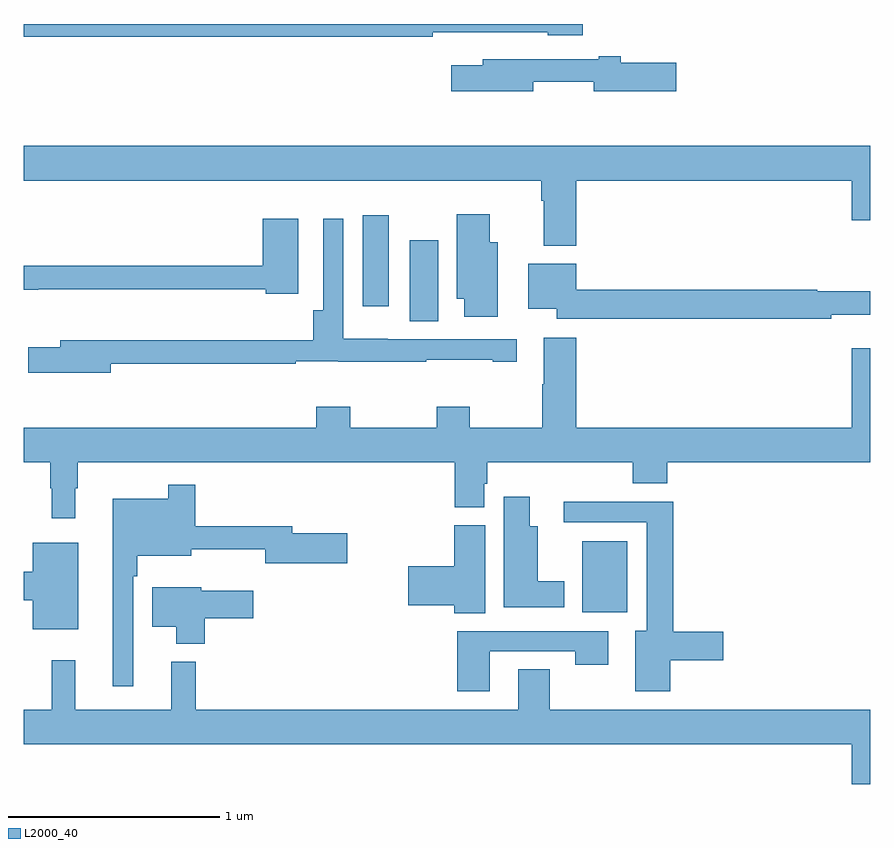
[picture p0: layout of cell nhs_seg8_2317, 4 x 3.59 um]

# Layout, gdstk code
import gdstk
lib = gdstk.Library(unit=1e-6, precision=1e-09)
def R(c, l, rs):  # rectangles x0, y0, x1, y1
    for r in rs: c.add(gdstk.rectangle(r[:2], r[2:], *l))
def P(c, l, *ps):  # polygons
    for p in ps: c.add(gdstk.Polygon(p, *l))
L2000_40 = (2000, 40)

nhs_seg8_2317 = lib.new_cell('nhs_seg8_2317')
R(nhs_seg8_2317, L2000_40, [(259.64,1121.12,259.852,1121.455), (258.824,1122.496,258.958,1122.877), (258.602,1122.567,258.724,1122.997)])
P(nhs_seg8_2317, L2000_40, [(258.932,1123.86),(259.476,1123.86),(259.476,1123.847),(259.642,1123.847),(259.642,1123.9),(257,1123.9),(257,1123.84),(258.932,1123.84)],
  [(259.408,1123.626),(259.694,1123.626),(259.694,1123.583),(260.083,1123.583),(260.083,1123.718),(259.822,1123.718),(259.822,1123.747),(259.718,1123.747),(259.718,1123.734),(259.169,1123.734),(259.169,1123.705),(259.02,1123.705),(259.02,1123.583),(259.408,1123.583)],
  [(259.61,1123.16),(260.912,1123.16),(260.912,1122.972),(261,1122.972),(261,1123.324),(257,1123.324),(257,1123.16),(259.445,1123.16),(259.445,1123.064),(259.457,1123.064),(259.457,1122.851),(259.61,1122.851)],
  [(259.24,1122.868),(259.201,1122.868),(259.201,1123),(259.046,1123),(259.046,1122.602),(259.082,1122.602),(259.082,1122.516),(259.24,1122.516)],
  [(257.41,1122.294),(258.284,1122.294),(258.284,1122.305),(258.486,1122.305),(258.486,1122.303),(258.902,1122.303),(258.902,1122.313),(259.217,1122.313),(259.217,1122.303),(259.33,1122.303),(259.33,1122.411),(258.72,1122.411),(258.72,1122.412),(258.51,1122.412),(258.51,1122.979),(258.414,1122.979),(258.414,1122.547),(258.368,1122.547),(258.368,1122.405),(257.171,1122.405),(257.171,1122.373),(257.022,1122.373),(257.022,1122.251),(257.41,1122.251)],
  [(258.298,1122.979),(258.128,1122.979),(258.128,1122.757),(257,1122.757),(257,1122.643),(257.067,1122.643),(257.067,1122.646),(258.144,1122.646),(258.144,1122.626),(258.298,1122.626)],
  [(260.816,1122.527),(261,1122.527),(261,1122.637),(260.75,1122.637),(260.75,1122.644),(259.612,1122.644),(259.612,1122.766),(259.385,1122.766),(259.385,1122.554),(259.518,1122.554),(259.518,1122.508),(260.816,1122.508)],
  [(259.107,1122.091),(258.952,1122.091),(258.952,1121.992),(258.543,1121.992),(258.543,1122.091),(258.383,1122.091),(258.383,1121.992),(257,1121.992),(257,1121.828),(257.125,1121.828),(257.125,1121.705),(257.133,1121.705),(257.133,1121.565),(257.242,1121.565),(257.242,1121.705),(257.254,1121.705),(257.254,1121.828),(259.037,1121.828),(259.037,1121.617),(259.177,1121.617),(259.177,1121.727),(259.19,1121.727),(259.19,1121.828),(259.877,1121.828),(259.877,1121.729),(260.041,1121.729),(260.041,1121.828),(261,1121.828),(261,1122.367),(260.912,1122.367),(260.912,1121.992),(259.61,1121.992),(259.61,1122.418),(259.457,1122.418),(259.457,1122.197),(259.45,1122.197),(259.45,1121.992),(259.107,1121.992)],
  [(257.517,1121.291),(257.537,1121.291),(257.537,1121.387),(257.791,1121.387),(257.791,1121.417),(258.14,1121.417),(258.14,1121.351),(258.529,1121.351),(258.529,1121.493),(258.268,1121.493),(258.268,1121.527),(257.81,1121.527),(257.81,1121.722),(257.682,1121.722),(257.682,1121.656),(257.42,1121.656),(257.42,1120.77),(257.517,1120.77)],
  [(259.555,1121.266),(259.429,1121.266),(259.429,1121.527),(259.39,1121.527),(259.39,1121.665),(259.268,1121.665),(259.268,1121.144),(259.555,1121.144)],
  [(260.056,1120.892),(260.305,1120.892),(260.305,1121.027),(260.069,1121.027),(260.069,1121.642),(259.551,1121.642),(259.551,1121.544),(259.943,1121.544),(259.943,1121.032),(259.889,1121.032),(259.889,1120.746),(260.056,1120.746)],
  [(259.18,1121.532),(259.034,1121.532),(259.034,1121.336),(258.816,1121.336),(258.816,1121.153),(259.034,1121.153),(259.034,1121.116),(259.18,1121.116)],
  [(257.257,1121.449),(257.042,1121.449),(257.042,1121.312),(257,1121.312),(257,1121.176),(257.042,1121.176),(257.042,1121.039),(257.257,1121.039)],
  [(257.855,1121.092),(258.085,1121.092),(258.085,1121.221),(257.838,1121.221),(257.838,1121.239),(257.606,1121.239),(257.606,1121.051),(257.72,1121.051),(257.72,1120.97),(257.855,1120.97)],
  [(259.201,1120.935),(259.606,1120.935),(259.606,1120.872),(259.762,1120.872),(259.762,1121.031),(259.049,1121.031),(259.049,1120.746),(259.201,1120.746)],
  [(261,1120.66),(259.485,1120.66),(259.485,1120.85),(259.337,1120.85),(259.337,1120.66),(257.813,1120.66),(257.813,1120.885),(257.696,1120.885),(257.696,1120.66),(257.243,1120.66),(257.243,1120.894),(257.133,1120.894),(257.133,1120.66),(257,1120.66),(257,1120.496),(260.912,1120.496),(260.912,1120.308),(261,1120.308)])

lib.write_gds('nhs_seg8_2317.gds')
